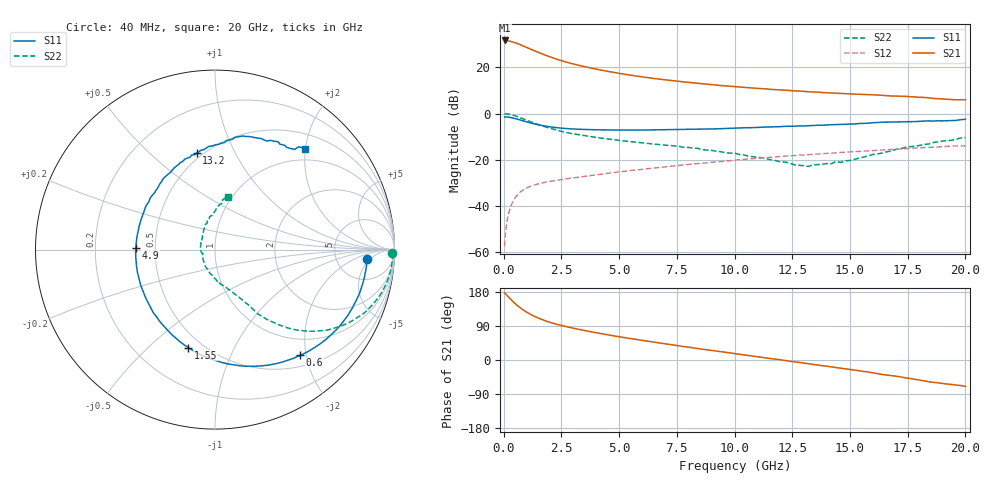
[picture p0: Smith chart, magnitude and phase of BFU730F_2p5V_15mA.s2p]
! Filename:  P:\Prog\Test\Noise\ATS_data\Testdata_Net\Split files Spar\BFU730_2W_B1_Bias7_2.5V_1mA_25mA_D.s2p
! Date/Time: Fri 29/Apr/2011 15:08:39
! BFU730_2W_B1_Bias7_2.5V_1mA_25mA_R.s2p
! MDIF S-parameter v. bias file
! BFU730_2W_B1_2.5V_1mA_25mA
! Date/time Thu Mar 17 13:38:09 2011
! VAR V_out= 2.5000
! VAR I_out= 15.0750
! VAR V_in= 0.8056
! VAR I_in= 0.0504
! Device data file deembeded for feedlines and parallel
! Original file: \Split files Spar\BFU730_2W_B1_Bias7_2.5V_1mA_25mA_R.s2p
! Feed-files: PR003V01_101208_Feed1.s2p, PR003V01_101208_Feed2.s2p
! Parallel-file: PR003V01_101208_Par.s2p
# MHz S MA R 50
!  Freq-MHz  S11-mag  S11-arg  S21-mag  S21-arg  S12-mag  S12-arg  S22-mag  S22-arg
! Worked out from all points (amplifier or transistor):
!   167 points, 40 MHz to 20 GHz, reference 50 ohm
!   highest |S21| = 31.7 dB at 50 MHz (marker M1)
!   |S21| within 3 dB of that: start of sweep to 990.3 MHz
!   unconditionally stable (mu >= 1): 4.898 GHz to 15.57 GHz
!   at 550 MHz: K = 0.18, MSG = 33.1 dB, |S12| = -35.8 dB
!   at 4.2 GHz: K = 0.94, MSG = 22.6 dB, |S12| = -26.2 dB
!   at 20 GHz: K = 0.85, MSG = 10.0 dB, |S12| = -14.0 dB
!   S11 on the Smith chart (normalised r, x): 40 MHz: 11, -4; 600 MHz: 0.69, -1.89; 1.55 GHz: 0.42, -0.67; 4.9 GHz: 0.39, +0.01; 13.2 GHz: 0.47, +0.71; 20 GHz: 0.77, +2.00
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40  0.8495 -3.5  38.28 177.1  0.001351 76.0  0.9878 -1.2
50  0.8491 -5.0  38.35 176.0  0.001913 91.0  0.9877 -1.9
70  0.8492 -6.1  38.05 175.3  0.002275 80.9  0.9899 -3.0
240  0.8332 -21.4  37.3 164.1  0.007737 78.4  0.9703 -11.8
340  0.8178 -30.1  36.16 157.9  0.01074 74.6  0.9468 -16.6
460  0.7917 -40.2  34.85 151.0  0.01411 70.1  0.9112 -21.9
600  0.7571 -51.1  32.88 143.4  0.01746 65.2  0.8609 -27.4
800  0.7085 -65.3  29.89 134.1  0.02153 59.3  0.7886 -34.0
1050  0.6508 -80.7  26.34 124.3  0.02534 53.8  0.7022 -40.4
1300  0.6037 -93.9  23.27 116.2  0.02825 49.9  0.6286 -45.1
1550  0.5661 -105.3  20.68 109.4  0.03059 47.2  0.568 -48.6
1900  0.5264 -118.7  17.72 101.4  0.03333 44.7  0.5007 -52.4
2300  0.496 -131.2  15.06 94.1  0.03604 43.0  0.4408 -55.8
2800  0.4718 -144.2  12.67 86.8  0.03935 41.8  0.3819 -57.9
3400  0.4558 -156.8  10.68 79.1  0.04322 41.2  0.3402 -60.3
4900  0.4418 178.6  7.591 62.4  0.05396 39.4  0.2681 -66.5
6800  0.4458 155.9  5.537 44.5  0.06876 35.4  0.2123 -75.5
10200  0.4917 124.7  3.779 15.2  0.1003 23.8  0.1306 -104.1
13200  0.5469 100.8  2.972 -9.8  0.1296 9.2  0.07195 -161.1
13400  0.5517 99.5  2.947 -11.6  0.1323 8.1  0.07758 -168.5
16800  0.6589 72.9  2.41 -41.1  0.1671 -10.9  0.155 106.2
20000  0.7537 48.1  1.993 -69.7  0.2006 -32.0  0.3033 76.2
